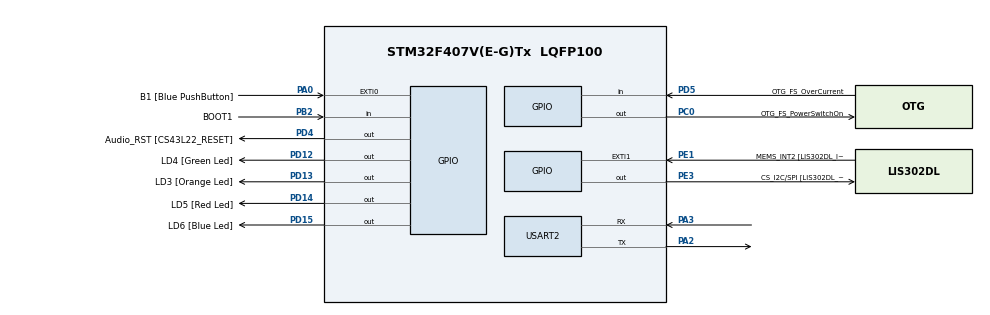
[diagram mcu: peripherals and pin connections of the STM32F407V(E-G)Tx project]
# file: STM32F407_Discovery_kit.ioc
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Mcu.Family=STM32F4
PA11.GPIO_Speed=GPIO_SPEED_FREQ_LOW
PC3.GPIO_Mode=GPIO_MODE_AF_PP
PD12.GPIO_Label=LD4 [Green Led]
PH0-OSC_IN.Signal=RCC_OSC_IN
RCC.CortexFreq_Value=84000000
PC10.GPIO_PuPd=GPIO_NOPULL
PB10.GPIO_Speed=GPIO_SPEED_FREQ_LOW
PB6.GPIO_Mode=GPIO_MODE_AF_OD
PB10.GPIO_PuPd=GPIO_NOPULL
VP_ADC1_TempSens_Input.Mode=IN-TempSens
ADC1.ContinuousConvMode=ENABLE
PA10.GPIO_PuPd=GPIO_NOPULL
Dma.USART2_TX.1.MemInc=DMA_MINC_ENABLE
PD15.GPIO_Speed=GPIO_SPEED_FREQ_LOW
PC10.Signal=I2S3_CK
PC12.Signal=I2S3_SD
PA14.GPIO_Label=SWCLK
USART2.Parity=PARITY_NONE
PA7.GPIO_Mode=GPIO_MODE_AF_PP
PC0.GPIO_Label=OTG_FS_PowerSwitchOn
PA6.GPIO_Label=SPI1_MISO [LIS302DL_SDO]
PB6.GPIO_Label=Audio_SCL [CS43L22_SCL]
PC10.GPIO_Speed=GPIO_SPEED_FREQ_LOW
PA11.GPIO_PuPd=GPIO_NOPULL
PC15-OSC32_OUT.GPIO_Label=PC15-OSC32_OUT
PC3.GPIO_Speed=GPIO_SPEED_FREQ_LOW
RCC.SYSCLKSource=RCC_SYSCLKSOURCE_PLLCLK
ProjectManager.StackSize=0x400
PA6.GPIO_Mode=GPIO_MODE_AF_PP
PD13.Signal=GPIO_Output
PD14.GPIO_Speed=GPIO_SPEED_FREQ_LOW
PA12.Signal=USB_OTG_FS_DP
RCC.HCLKFreq_Value=84000000
PD4.Signal=GPIO_Output
RCC.APB2TimFreq_Value=84000000
PB6.Signal=I2C1_SCL
Dma.ADC1.0.Direction=DMA_PERIPH_TO_MEMORY
PC7.Signal=I2S3_MCK
Dma.USART2_TX.1.Mode=DMA_NORMAL
PC3.Signal=I2S2_SD
NVIC.DMA2_Stream0_IRQn=true\:0\:0\:false\:false\:true\:false\:true
PE1.Signal=GPXTI1
Dma.ADC1.0.MemDataAlignment=DMA_MDATAALIGN_HALFWORD
RCC.AHBFreq_Value=84000000
PH0-OSC_IN.Mode=HSE-External-Oscillator
PH0-OSC_IN.GPIO_Label=PH0-OSC_IN
PA9.GPIO_Mode=GPIO_MODE_INPUT
ADC1.Channel-0\#ChannelRegularConversion=ADC_CHANNEL_TEMPSENSOR
RCC.HSE_VALUE=8000000
PA4.GPIO_PuPd=GPIO_NOPULL
PB2.Signal=GPIO_Input
PA4.GPIO_Speed=GPIO_SPEED_FREQ_LOW
PA6.GPIO_PuPd=GPIO_NOPULL
Dma.USART2_TX.1.Instance=DMA1_Stream6
PA5.GPIO_PuPd=GPIO_NOPULL
Dma.ADC1.0.PeriphInc=DMA_PINC_DISABLE
PA10.GPIO_Label=OTG_FS_ID
PC7.GPIO_Mode=GPIO_MODE_AF_PP
PD5.GPIO_Mode=GPIO_MODE_INPUT
PD14.GPIO_PuPd=GPIO_NOPULL
PB2.GPIO_PuPd=GPIO_NOPULL
ADC1.SamplingTime-0\#ChannelRegularConversion=ADC_SAMPLETIME_84CYCLES
PH1-OSC_OUT.Mode=HSE-External-Oscillator
PD13.GPIO_Label=LD3 [Orange Led]
Mcu.Package=LQFP100
PB9.Signal=I2C1_SDA
PA6.Signal=SPI1_MISO
USART2.VirtualMode=VM_ASYNC
PD12.Signal=GPIO_Output
PD5.GPIO_Label=OTG_FS_OverCurrent
PD15.GPIO_PuPd=GPIO_NOPULL
PA10.Signal=USB_OTG_FS_ID
PB9.GPIO_PuPd=GPIO_NOPULL
USART2.WordLength=WORDLENGTH_8B
PA10.GPIO_Speed=GPIO_SPEED_FREQ_LOW
RCC.APB2CLKDivider=RCC_HCLK_DIV2
PB9.GPIO_Speed=GPIO_SPEED_FREQ_LOW
Dma.Request1=USART2_TX
RCC.APB1TimFreq_Value=84000000
Dma.ADC1.0.FIFOMode=DMA_FIFOMODE_DISABLE
PC14-OSC32_IN.GPIO_Label=PC14-OSC32_IN
PC12.GPIO_PuPd=GPIO_NOPULL
PA6.GPIO_Speed=GPIO_SPEED_FREQ_LOW
PC0.GPIO_PuPd=GPIO_NOPULL
PA12.GPIO_PuPd=GPIO_NOPULL
Dma.Request0=ADC1
NVIC.DMA1_Stream6_IRQn=true\:0\:0\:false\:false\:true\:false\:true
PA4.GPIO_Label=I2S3_WS [CS43L22_LRCK]
PD15.Signal=GPIO_Output
PC0.PinState=GPIO_PIN_SET
PA12.GPIO_Speed=GPIO_SPEED_FREQ_LOW
PA3.Signal=USART2_RX
PB3.GPIO_Label=SWO
RCC.PLLSourceVirtual=RCC_PLLSOURCE_HSE
Dma.USART2_TX.1.Priority=DMA_PRIORITY_LOW
Dma.ADC1.0.Instance=DMA2_Stream0
PD12.GPIO_Speed=GPIO_SPEED_FREQ_LOW
PD15.GPIO_Label=LD6 [Blue Led]
ADC1.Rank-0\#ChannelRegularConversion=1
PB9.GPIO_Label=Audio_SDA [CS43L22_SDA]
PC10.GPIO_Label=I2S3_SCK [CS43L22_SCLK]
Dma.USART2_TX.1.FIFOMode=DMA_FIFOMODE_DISABLE
PA9.GPIO_Label=VBUS_FS
PB6.GPIO_PuPd=GPIO_NOPULL
PA11.GPIO_Label=OTG_FS_DM
PE1.GPIO_PuPd=GPIO_NOPULL
PD5.Signal=GPIO_Input
PC0.Signal=GPIO_Output
PE1.GPIO_ModeDefaultEXTI=GPIO_MODE_EVT_RISING
RCC.APB1CLKDivider=RCC_HCLK_DIV2
PC14-OSC32_IN.Signal=RCC_OSC32_IN
PA9.GPIO_PuPd=GPIO_NOPULL
Dma.USART2_TX.1.PeriphDataAlignment=DMA_PDATAALIGN_BYTE
PA12.GPIO_Label=OTG_FS_DP
PA0-WKUP.GPIO_Label=B1 [Blue PushButton]
PA0-WKUP.Signal=GPXTI0
PA10.GPIO_Mode=GPIO_MODE_AF_PP
PA3.Mode=Asynchronous
PA13.Signal=SYS_JTMS-SWDIO
PC10.GPIO_Mode=GPIO_MODE_AF_PP
PD4.GPIO_PuPd=GPIO_NOPULL
Dma.ADC1.0.PeriphDataAlignment=DMA_PDATAALIGN_HALFWORD
PC0.GPIO_Speed=GPIO_SPEED_FREQ_LOW
PB10.GPIO_Mode=GPIO_MODE_AF_PP
ProjectManager.TargetToolchain=STM32CubeIDE
PB10.GPIO_Label=CLK_IN [MP45DT02_CLK]
Dma.ADC1.0.Mode=DMA_CIRCULAR
Dma.ADC1.0.Priority=DMA_PRIORITY_LOW
PA9.Signal=USB_OTG_FS_VBUS
PC7.GPIO_PuPd=GPIO_NOPULL
RCC.LSE_VALUE=32768
PC15-OSC32_OUT.Signal=RCC_OSC32_OUT
PA7.GPIO_PuPd=GPIO_NOPULL
PB10.Signal=I2S2_CK
PA5.Signal=SPI1_SCK
Dma.USART2_TX.1.PeriphInc=DMA_PINC_DISABLE
board=STM32F407G-DISC1
PD13.GPIO_Speed=GPIO_SPEED_FREQ_LOW
PC7.GPIO_Speed=GPIO_SPEED_FREQ_LOW
RCC.VCOOutputFreq_Value=336000000
PE1.GPIO_Label=MEMS_INT2 [LIS302DL_INT2]
PA7.GPIO_Speed=GPIO_SPEED_FREQ_LOW
PB9.GPIO_Mode=GPIO_MODE_AF_OD
PA12.GPIO_Mode=GPIO_MODE_AF_PP
PA4.GPIO_Mode=GPIO_MODE_AF_PP
Dma.USART2_TX.1.Direction=DMA_MEMORY_TO_PERIPH
RCC.APB2Freq_Value=42000000
PB2.GPIO_Mode=GPIO_MODE_INPUT
PD4.GPIO_Label=Audio_RST [CS43L22_RESET]
PD4.GPIO_Speed=GPIO_SPEED_FREQ_LOW
PE3.GPIO_PuPd=GPIO_NOPULL
PH1-OSC_OUT.Signal=RCC_OSC_OUT
PD13.GPIO_PuPd=GPIO_NOPULL
PD5.GPIO_PuPd=GPIO_NOPULL
RCC.AHBCLKDivider=RCC_SYSCLK_DIV2
PD14.GPIO_Label=LD5 [Red Led]
PH1-OSC_OUT.GPIO_Label=PH1-OSC_OUT
ADC1.DMAContinuousRequests=ENABLE
ADC1.NbrOfConversion=1
Mcu.Name=STM32F407V(E-G)Tx
PA2.Signal=USART2_TX
PA13.GPIO_Label=SWDIO
ADC1.ExternalTrigConv=ADC_SOFTWARE_START
PC7.GPIO_Label=I2S3_MCK [CS43L22_MCLK]
PD14.Signal=GPIO_Output
RCC.48MHZClocksFreq_Value=48000000
PB3.Signal=SYS_JTDO-SWO
PA4.Signal=I2S3_WS
RCC.SYSCLKFreq_VALUE=168000000
PC12.GPIO_Mode=GPIO_MODE_AF_PP
PA7.GPIO_Label=SPI1_MOSI [LIS302DL_SDA/SDI/SDO]
ADC1.master=1
PA5.GPIO_Label=SPI1_SCK [LIS302DL_SCL/SPC]
PE3.GPIO_Speed=GPIO_SPEED_FREQ_LOW
PC12.GPIO_Label=I2S3_SD [CS43L22_SDIN]
PA11.Signal=USB_OTG_FS_DM
PA14.Signal=SYS_JTCK-SWCLK
Dma.ADC1.0.MemInc=DMA_MINC_ENABLE
PB2.GPIO_Label=BOOT1
ProjectManager.HeapSize=0x200
RCC.HSI_VALUE=16000000
PA5.GPIO_Speed=GPIO_SPEED_FREQ_LOW
RCC.PLLQ=7
NVIC.PriorityGroup=NVIC_PRIORITYGROUP_4
ADC1.NbrOfConversionFlag=1
RCC.PLLM=4
RCC.PLLN=168
PE3.Signal=GPIO_Output
PA2.Mode=Asynchronous
PE3.GPIO_Label=CS_I2C/SPI [LIS302DL_CS_I2C/SPI]
PC3.GPIO_Label=PDM_OUT [MP45DT02_DOUT]
Dma.USART2_TX.1.MemDataAlignment=DMA_MDATAALIGN_BYTE
PA11.GPIO_Mode=GPIO_MODE_AF_PP
PB6.GPIO_Speed=GPIO_SPEED_FREQ_LOW
RCC.APB1Freq_Value=42000000
PA5.GPIO_Mode=GPIO_MODE_AF_PP
PC12.GPIO_Speed=GPIO_SPEED_FREQ_LOW
PC3.GPIO_PuPd=GPIO_NOPULL
PD12.GPIO_PuPd=GPIO_NOPULL
PA7.Signal=SPI1_MOSI

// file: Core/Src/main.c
/* USER CODE BEGIN Header */
/**
  ******************************************************************************
  * @file           : main.c
  * @brief          : Main program body
  ******************************************************************************
  * @attention
  *
  * <h2><center>&copy; Copyright (c) 2021 STMicroelectronics.
  * All rights reserved.</center></h2>
  *
  * This software component is licensed by ST under BSD 3-Clause license,
  * the "License"; You may not use this file except in compliance with the
  * License. You may obtain a copy of the License at:
  *                        opensource.org/licenses/BSD-3-Clause
  *
  ******************************************************************************
  */
/* USER CODE END Header */
#include "main.h"
#include "adc.h"
#include "dma.h"
#include "usart.h"
#include "gpio.h"

/* USER CODE BEGIN Includes */
#include <stdio.h>
/* USER CODE END Includes */

/* USER CODE BEGIN PD */
#define TEMP_SENSOR_AVG_SLOPE_PER_CELSIUS 2.5f
#define TEMP_SENSOR_VOLTAGE_AT_25 760.0f
#define ADC_REFERENCE_VOLTAGE 3000.0f
#define ADC_MAX_OUTPUT_VALUE 4095.0f
#define BUFF_TX_SIZE 30
/* USER CODE END PD */

/* USER CODE BEGIN PV */
uint32_t adc_value, i, count = 0;
uint8_t adc_dma_flag, uart_dma_flag, tick_500ms_elapsed;
float temp;
char usart_tx_dma_buffer[BUFF_TX_SIZE];
/* USER CODE END PV */

void SystemClock_Config(void);
/* USER CODE BEGIN PFP */
void Sensor_Temp_Start(void);
void Usart_TX_Start(void);

float calc_temperature_sensor(uint32_t value);
void uart_transmission(char* buff_tx, float value, int period);
/* USER CODE END PFP */

int main(void)
{
  /* USER CODE BEGIN 1 */
	uint32_t return_code;
  /* USER CODE END 1 */

  /* MCU Configuration--------------------------------------------------------*/

  /* Reset of all peripherals, Initializes the Flash interface and the Systick. */

  LL_APB2_GRP1_EnableClock(LL_APB2_GRP1_PERIPH_SYSCFG);
  LL_APB1_GRP1_EnableClock(LL_APB1_GRP1_PERIPH_PWR);

  NVIC_SetPriorityGrouping(NVIC_PRIORITYGROUP_4);

  /* System interrupt init*/

  /* Configure the system clock */
  SystemClock_Config();

  /* Initialize all configured peripherals */
  MX_GPIO_Init();
  MX_DMA_Init();
  MX_ADC1_Init();
  MX_USART2_UART_Init();
  /* USER CODE BEGIN 2 */
  Sensor_Temp_Start();
  Usart_TX_Start();
  /* USER CODE END 2 */

  /* Infinite loop */
  /* USER CODE BEGIN WHILE */
  return_code = SysTick_Config(SystemCoreClock / 16000);  /* Systick_Config to configure the interrupts to every 1ms */
  if (return_code != 0)
  {
	  Error_Handler();              /* Error Handler */
  }

  while (1)
  {
	  if(tick_500ms_elapsed == 1)
	  {
		  count++;
		  if(adc_dma_flag == 1){
			  temp = calc_temperature_sensor(adc_value);
			  adc_dma_flag = 0;
		  }
		  if(uart_dma_flag == 1){
			  uart_transmission(usart_tx_dma_buffer, temp, (count*500));
			  uart_dma_flag = 0;
		  }
		  tick_500ms_elapsed = 0;
	  }
    /* USER CODE END WHILE */

    /* USER CODE BEGIN 3 */
	LL_GPIO_TogglePin(LD3_GPIO_Port, LD3_Pin);
	LL_mDelay(1000);

	LL_GPIO_TogglePin(LD4_GPIO_Port, LD4_Pin);
	LL_mDelay(1000);

	LL_GPIO_TogglePin(LD5_GPIO_Port, LD5_Pin);
	LL_mDelay(1000);

	LL_GPIO_TogglePin(LD6_GPIO_Port, LD6_Pin);
	LL_mDelay(1000);
  }
  /* USER CODE END 3 */
}

void SystemClock_Config(void)
{
  LL_FLASH_SetLatency(LL_FLASH_LATENCY_2);
  while(LL_FLASH_GetLatency()!= LL_FLASH_LATENCY_2)
  {
  }
  LL_PWR_SetRegulVoltageScaling(LL_PWR_REGU_VOLTAGE_SCALE1);
  LL_RCC_HSE_Enable();

   /* Wait till HSE is ready */
  while(LL_RCC_HSE_IsReady() != 1)
  {

  }
  LL_RCC_PLL_ConfigDomain_SYS(LL_RCC_PLLSOURCE_HSE, LL_RCC_PLLM_DIV_4, 168, LL_RCC_PLLP_DIV_2);
  LL_RCC_PLL_Enable();

   /* Wait till PLL is ready */
  while(LL_RCC_PLL_IsReady() != 1)
  {

  }
  LL_RCC_SetAHBPrescaler(LL_RCC_SYSCLK_DIV_2);
  LL_RCC_SetAPB1Prescaler(LL_RCC_APB1_DIV_2);
  LL_RCC_SetAPB2Prescaler(LL_RCC_APB2_DIV_2);
  LL_RCC_SetSysClkSource(LL_RCC_SYS_CLKSOURCE_PLL);

   /* Wait till System clock is ready */
  while(LL_RCC_GetSysClkSource() != LL_RCC_SYS_CLKSOURCE_STATUS_PLL)
  {

  }
  LL_Init1msTick(84000000);
  LL_SetSystemCoreClock(84000000);
}

/* USER CODE BEGIN 4 */
/**
  * @brief  Function to process the sensor temperature.
  * @param  value of the ADC's read
  * @retval temp_in_c (Sensor temperature)
  */
float calc_temperature_sensor(uint32_t value)
{
    float temp_aux, temp_in_c;
    temp_aux = ((float)value) / ADC_MAX_OUTPUT_VALUE * ADC_REFERENCE_VOLTAGE;
    temp_in_c = (temp_aux - TEMP_SENSOR_VOLTAGE_AT_25) / TEMP_SENSOR_AVG_SLOPE_PER_CELSIUS + 25;
    return temp_in_c;
}
/**
  * @brief  This function executed the transmission through UART.
  * @param  char  -> buffer array for the transmissión
  * @param  float -> calculated temperature value
  * @param  int   -> period of the timer
  * @retval None
  */
void uart_transmission(char* buff_tx, float value, int period)
{
    Usart_TX_Start();
    sprintf(buff_tx, "%d ms, ADC_T(C):%f \r\n", period, value);
}
/* USER CODE END 4 */

void Error_Handler(void)
{
  __disable_irq();
  while (1)
  {
  }
}

/************************ (C) COPYRIGHT STMicroelectronics *****END OF FILE****/
